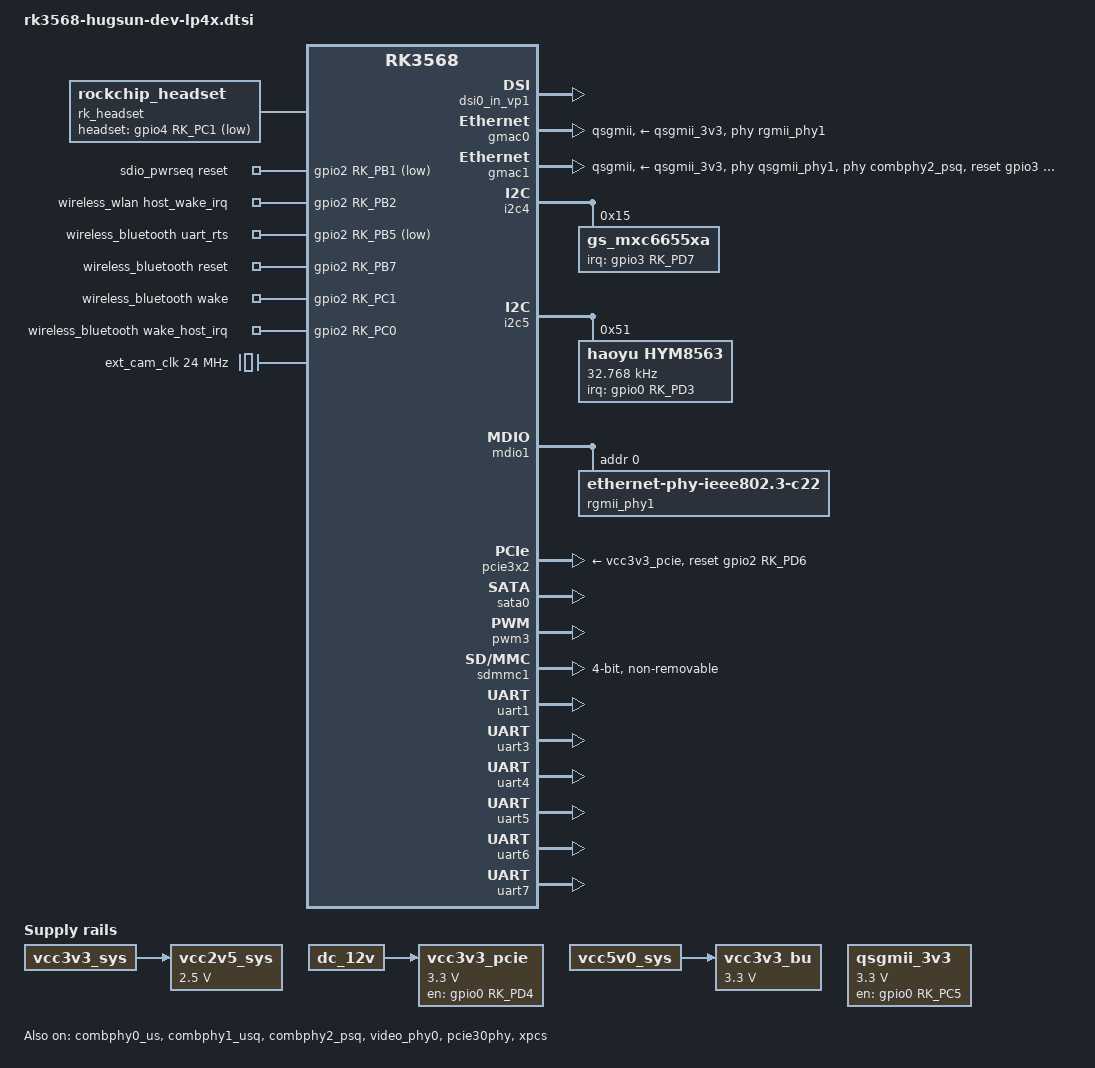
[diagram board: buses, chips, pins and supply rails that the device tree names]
// SPDX-License-Identifier: (GPL-2.0+ OR MIT)
/*
 * Copyright (c) 2020 Rockchip Electronics Co., Ltd.
 *
 */

/dts-v1/;

#include <dt-bindings/gpio/gpio.h>
#include <dt-bindings/pinctrl/rockchip.h>
#include "rk3568.dtsi"
#include "rk3568-hugsun.dtsi"

/ {
	rk_headset: rk-headset {
		compatible = "rockchip_headset";
		headset_gpio = <&gpio4 RK_PC1 GPIO_ACTIVE_LOW>;
		pinctrl-names = "default";
		pinctrl-0 = <&hp_det>;
	};

	vcc2v5_sys: vcc2v5-ddr {
		compatible = "regulator-fixed";
		regulator-name = "vcc2v5-sys";
		regulator-always-on;
		regulator-boot-on;
		regulator-min-microvolt = <2500000>;
		regulator-max-microvolt = <2500000>;
		vin-supply = <&vcc3v3_sys>;
	};

	vcc3v3_pcie: vcc3v3-pcie {
		compatible = "regulator-fixed";
		regulator-name = "vcc3v3_pcie";
		regulator-boot-on;
		enable-active-high;
		regulator-min-microvolt = <3300000>;
		regulator-max-microvolt = <3300000>;
		gpio = <&gpio0 RK_PD4 GPIO_ACTIVE_HIGH>;
		startup-delay-us = <5000>;
		vin-supply = <&dc_12v>;
    };

	//qsgmii_3v3: gpio-regulator {
	//	compatible = "regulator-gpio";
	//	regulator-name = "qsgmii_3v3";
	//	regulator-min-microvolt = <0100000>;
	//	regulator-max-microvolt = <3300000>;
	//	//gpios = <&gpio0 RK_PB7 GPIO_ACTIVE_HIGH>;
	//	gpio = <&gpio0 RK_PC5 GPIO_ACTIVE_HIGH>;
	//	gpios-states = <0x1>;
	//	states = <0100000 0x0
	//		  3300000 0x1>;
	//};

	qsgmii_3v3: gpio-regulator {
		compatible = "regulator-fixed";
		regulator-name = "qsgmii_3v3";
		regulator-boot-on;
		enable-active-high;
		regulator-min-microvolt = <3300000>;
		regulator-max-microvolt = <3300000>;
		gpio = <&gpio0 RK_PC5 GPIO_ACTIVE_HIGH>;
		pinctrl-names = "default";
		pinctrl-0 = <&qsgmii_en>;
	};	

	vcc3v3_bu: vcc3v3-bu {
		compatible = "regulator-fixed";
		regulator-name = "vcc3v3_bu";
		regulator-always-on;
		regulator-boot-on;
		regulator-min-microvolt = <3300000>;
		regulator-max-microvolt = <3300000>;
		vin-supply = <&vcc5v0_sys>;
	};

	sdio_pwrseq: sdio-pwrseq {
		compatible = "mmc-pwrseq-simple";
		pinctrl-names = "default";
		pinctrl-0 = <&wifi_enable_h>;
		reset-gpios = <&gpio2 RK_PB1 GPIO_ACTIVE_LOW>;
	};

	wireless_wlan: wireless-wlan {
		compatible = "wlan-platdata";
		rockchip,grf = <&grf>;
		wifi_chip_type = "ap6256";
		clocks = <&hym8563>;
		clock-names = "clk_wifi";
		pinctrl-0 = <&wifi_host_wake_irq>;
		pinctrl-names = "default";
		WIFI,host_wake_irq = <&gpio2 RK_PB2 GPIO_ACTIVE_HIGH>;
		status = "okay";
	};

	wireless_bluetooth: wireless-bluetooth {
		compatible = "bluetooth-platdata";
		//wifi-bt-power-toggle;
		uart_rts_gpios = <&gpio2 RK_PB5 GPIO_ACTIVE_LOW>;
		pinctrl-names = "default", "rts_gpio";
		pinctrl-0 = <&uart1m0_rtsn>;
		pinctrl-1 = <&uart1_gpios>;
		BT,reset_gpio    = <&gpio2 RK_PB7 GPIO_ACTIVE_HIGH>;
		BT,wake_gpio     = <&gpio2 RK_PC1 GPIO_ACTIVE_HIGH>;
		BT,wake_host_irq = <&gpio2 RK_PC0 GPIO_ACTIVE_HIGH>;
		status = "okay";
	};

	ext_cam_clk: external-camera-clock {
		compatible = "fixed-clock";
		clock-frequency = <24000000>;
		clock-output-names = "CLK_CAMERA_24MHZ";
		#clock-cells = <0>;
	};
};

&combphy0_us {
	status = "okay";
};

&combphy1_usq {
	status = "okay";
};

&combphy2_psq {
	status = "okay";
};

/*
 * video_phy0 needs to be enabled
 * when dsi0 is enabled
 */
&dsi0 {
	status = "disabled";
};

&dsi0_in_vp0 {
	status = "disabled";
};

&dsi0_in_vp1 {
	status = "okay";
};

&dsi0_panel {
	power-supply = <&vcc3v3_lcd0_n>;
};

/*
 * video_phy1 needs to be enabled
 * when dsi1 is enabled
 */
&dsi1 {
	status = "disabled";
};

&dsi1_in_vp0 {
	status = "disabled";
};

&dsi1_in_vp1 {
	status = "disabled";
};

//&dsi1_panel {
//	power-supply = <&vcc3v3_lcd1_n>;
//};

&gmac0 {
	phy-supply = <&qsgmii_3v3>;
	phy-mode = "qsgmii";

	assigned-clocks = <&cru SCLK_GMAC0_RX_TX>;
	assigned-clock-parents = <&gmac0_xpcsclk>;

	power-domains = <&power RK3568_PD_PIPE>;
	phy-handle = <&rgmii_phy1>;

	status = "okay";
};

&gmac1 {
	phy-supply = <&qsgmii_3v3>;
	phy-mode = "qsgmii";
	rockchip,xpcs = <&xpcs>;	

	snps,reset-gpio = <&gpio3 RK_PB0 GPIO_ACTIVE_LOW>;  //gpio3-8 pin 104
	snps,reset-active-low;
	/* Reset time is 20ms, 100ms for rtl8211f */
	snps,reset-delays-us = <0 20000 100000>;

	assigned-clocks = <&cru SCLK_GMAC1_RX_TX>;
	assigned-clock-parents = <&gmac1_xpcsclk>;

	pinctrl-names = "default";
	pinctrl-0 = <&gmac1m0_miim>;

	power-domains = <&power RK3568_PD_PIPE>;
	phys = <&combphy2_psq PHY_TYPE_QSGMII>;
	phy-handle = <&qsgmii_phy1>;

	status = "okay";
};


&i2c4 {
	status = "okay";

	gs_mxc6655xa: gs_mxc6655xa@15 {
		status = "okay";
		compatible = "gs_mxc6655xa";
		pinctrl-names = "default";
		pinctrl-0 = <&mxc6655xa_irq_gpio>;
		reg = <0x15>;
		irq-gpio = <&gpio3 RK_PD7 IRQ_TYPE_LEVEL_LOW>;
		irq_enable = <0>;
		poll_delay_ms = <30>;
		type = <SENSOR_TYPE_ACCEL>;
		power-off-in-suspend = <1>;
		layout = <1>;
	};
};

&i2c5 {
	status = "okay";
	pinctrl-names = "default";	
	pinctrl-0 = <&i2c5m0_xfer>;
	
	hym8563: hym8563@51 {
		compatible = "haoyu,hym8563";
		reg = <0x51>;
		#clock-cells = <0>;
		clock-frequency = <32768>;
		clock-output-names = "hym8563";
		pinctrl-names = "default";
		pinctrl-0 = <&hym8563_int>;
		interrupt-parent = <&gpio0>;
		interrupts = <RK_PD3 IRQ_TYPE_LEVEL_LOW>;
		wakeup-source;
		status = "okay";
	};	
};

&mdio1 {
	rgmii_phy1: phy@0 {
		compatible = "ethernet-phy-ieee802.3-c22";
		reg = <0x0>;
	};
};

&video_phy0 {
	status = "okay";
};

&video_phy1 {
	status = "disabled";
};

//&pcie2x1 {
//	reset-gpios = <&gpio1 RK_PB2 GPIO_ACTIVE_HIGH>;
//	vpcie3v3-supply = <&vcc3v3_pcie>;
//	status = "okay";
//};

&pcie30phy {
	status = "okay";
};

&pcie3x2 {
	reset-gpios = <&gpio2 RK_PD6 GPIO_ACTIVE_HIGH>;
	vpcie3v3-supply = <&vcc3v3_pcie>;
	status = "okay";
};

&sata0 {
    status = "okay";
};


&pinctrl {
	headphone {
		hp_det: hp-det {
			rockchip,pins = <4 RK_PC1 RK_FUNC_GPIO &pcfg_pull_down>;
		};
	};

	hym8563 {
		hym8563_int: hym8563-int {
			rockchip,pins = <0 RK_PD3 RK_FUNC_GPIO &pcfg_pull_up>;
		};
	};
	qsgmii_ctl {
		qsgmii_en: qsgmii-en {
			rockchip,pins = <0 RK_PC5 RK_FUNC_GPIO &pcfg_pull_up>;
		};	
	};		

	sdio-pwrseq {
		wifi_enable_h: wifi-enable-h {
			rockchip,pins = <2 RK_PB1 RK_FUNC_GPIO &pcfg_pull_none>;
		};
	};

	wireless-wlan {
		wifi_host_wake_irq: wifi-host-wake-irq {
			rockchip,pins = <2 RK_PB2 RK_FUNC_GPIO &pcfg_pull_down>;
		};
	};

	wireless-bluetooth {
		uart1_gpios: uart1-gpios {
			rockchip,pins = <2 RK_PB5 RK_FUNC_GPIO &pcfg_pull_none>;
		};
	};
};

//&pmu_io_domains {
//	vccio6-supply = <&vcc_3v3>;
//};

&pwm3 {
	status = "okay";

	compatible = "rockchip,remotectl-pwm";
	remote_pwm_id = <3>;
	handle_cpu_id = <1>;
	remote_support_psci = <0>;
	pinctrl-names = "default";
	pinctrl-0 = <&pwm3_pins>;

	ir_key1 {
		rockchip,usercode = <0x4040>;
		rockchip,key_table =
			<0xf2	KEY_REPLY>,
			<0xba	KEY_BACK>,
			<0xf4	KEY_UP>,
			<0xf1	KEY_DOWN>,
			<0xef	KEY_LEFT>,
			<0xee	KEY_RIGHT>,
			<0xbd	KEY_HOME>,
			<0xea	KEY_VOLUMEUP>,
			<0xe3	KEY_VOLUMEDOWN>,
			<0xe2	KEY_SEARCH>,
			<0xb2	KEY_POWER>,
			<0xbc	KEY_MUTE>,
			<0xec	KEY_MENU>,
			<0xbf	0x190>,
			<0xe0	0x191>,
			<0xe1	0x192>,
			<0xe9	183>,
			<0xe6	248>,
			<0xe8	185>,
			<0xe7	186>,
			<0xf0	388>,
			<0xbe	0x175>;
	};

	ir_key2 {
		rockchip,usercode = <0xff00>;
		rockchip,key_table =
			<0xf9	KEY_HOME>,
			<0xbf	KEY_BACK>,
			<0xfb	KEY_MENU>,
			<0xaa	KEY_REPLY>,
			<0xb9	KEY_UP>,
			<0xe9	KEY_DOWN>,
			<0xb8	KEY_LEFT>,
			<0xea	KEY_RIGHT>,
			<0xeb	KEY_VOLUMEDOWN>,
			<0xef	KEY_VOLUMEUP>,
			<0xf7	KEY_MUTE>,
			<0xe7	KEY_POWER>,
			<0xfc	KEY_POWER>,
			<0xa9	KEY_VOLUMEDOWN>,
			<0xa8	KEY_VOLUMEDOWN>,
			<0xe0	KEY_VOLUMEDOWN>,
			<0xa5	KEY_VOLUMEDOWN>,
			<0xab	183>,
			<0xb7	388>,
			<0xe8	388>,
			<0xf8	184>,
			<0xaf	185>,
			<0xed	KEY_VOLUMEDOWN>,
			<0xee	186>,
			<0xb3	KEY_VOLUMEDOWN>,
			<0xf1	KEY_VOLUMEDOWN>,
			<0xf2	KEY_VOLUMEDOWN>,
			<0xf3	KEY_SEARCH>,
			<0xb4	KEY_VOLUMEDOWN>,
			<0xbe	KEY_SEARCH>;
	};

	ir_key3 {
		rockchip,usercode = <0x1dcc>;
		rockchip,key_table =
			<0xee	KEY_REPLY>,
			<0xf0	KEY_BACK>,
			<0xf8	KEY_UP>,
			<0xbb	KEY_DOWN>,
			<0xef	KEY_LEFT>,
			<0xed	KEY_RIGHT>,
			<0xfc	KEY_HOME>,
			<0xf1	KEY_VOLUMEUP>,
			<0xfd	KEY_VOLUMEDOWN>,
			<0xb7	KEY_SEARCH>,
			<0xff	KEY_POWER>,
			<0xf3	KEY_MUTE>,
			<0xbf	KEY_MENU>,
			<0xf9	0x191>,
			<0xf5	0x192>,
			<0xb3	388>,
			<0xbe	KEY_1>,
			<0xba	KEY_2>,
			<0xb2	KEY_3>,
			<0xbd	KEY_4>,
			<0xf9	KEY_5>,
			<0xb1	KEY_6>,
			<0xfc	KEY_7>,
			<0xf8	KEY_8>,
			<0xb0	KEY_9>,
			<0xb6	KEY_0>,
			<0xb5	KEY_BACKSPACE>;
	};
};

&pwm7 {
	status = "disabled";
};

&route_dsi0 {
	status = "disabled";
	connect = <&vp1_out_dsi0>;
};

&sdmmc1 {
	max-frequency = <150000000>;
	supports-sdio;
	bus-width = <4>;
	disable-wp;
	cap-sd-highspeed;
	cap-sdio-irq;
	keep-power-in-suspend;
	mmc-pwrseq = <&sdio_pwrseq>;
	non-removable;
	pinctrl-names = "default";
	pinctrl-0 = <&sdmmc1_bus4 &sdmmc1_cmd &sdmmc1_clk>;
	sd-uhs-sdr104;
	status = "okay";
};

&sdmmc2 {
	status = "disabled";
};

&uart1 {
	status = "okay";
	pinctrl-names = "default";
	pinctrl-0 = <&uart1m0_xfer &uart1m0_ctsn>;
};

&uart3 {
	status = "okay";
	pinctrl-names = "default";
	pinctrl-0 = <&uart3m1_xfer>;
};

&uart4 {
	status = "okay";
	pinctrl-names = "default";
	pinctrl-0 = <&uart4m1_xfer>;
};

&uart5 {
	status = "okay";
	pinctrl-names = "default";
	pinctrl-0 = <&uart5m1_xfer>;
};

&uart6 {
	status = "okay";
	pinctrl-names = "default";
	pinctrl-0 = <&uart6m1_xfer>;
};

&uart7 {
	status = "okay";
	pinctrl-names = "default";
	pinctrl-0 = <&uart7m2_xfer>;
};


&vcc3v3_lcd0_n {
	gpio = <&gpio0 RK_PC7 GPIO_ACTIVE_HIGH>;
	enable-active-high;
};

//&vcc3v3_lcd1_n {
//	gpio = <&gpio0 RK_PC5 GPIO_ACTIVE_HIGH>;  //mipi 1 lcd rst
//	enable-active-high;
//};

&xpcs {
	status = "okay";
};

